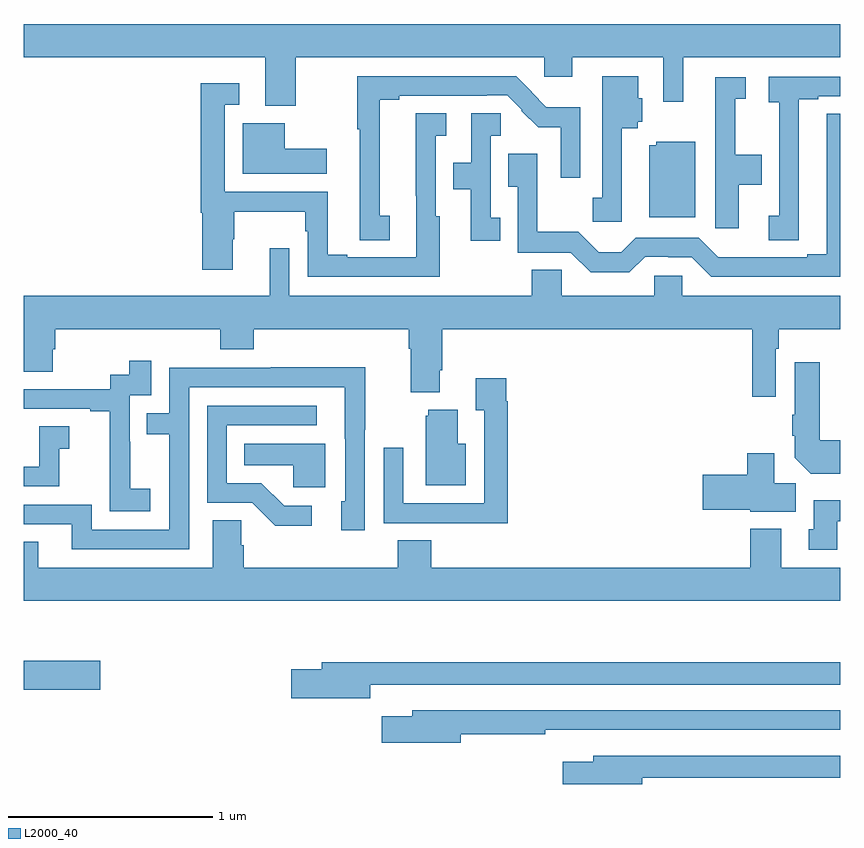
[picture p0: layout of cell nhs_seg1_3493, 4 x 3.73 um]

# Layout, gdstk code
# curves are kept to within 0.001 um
import gdstk
lib = gdstk.Library(unit=1e-6, precision=1e-09)
def R(c, l, rs):  # rectangles x0, y0, x1, y1
    for r in rs: c.add(gdstk.rectangle(r[:2], r[2:], *l))
def P(c, l, *ps):  # polygons
    for p in ps: c.add(gdstk.Polygon(p, *l))
L2000_40 = (2000, 40)

nhs_seg1_3493 = lib.new_cell('nhs_seg1_3493')
R(nhs_seg1_3493, L2000_40, [(301,520.661,301.375,520.803)])
P(nhs_seg1_3493, L2000_40, [(302.331,523.76),(303.549,523.76),(303.549,523.665),(303.688,523.665),(303.688,523.76),(304.134,523.76),(304.134,523.542),(304.231,523.542),(304.231,523.76),(305,523.76),(305,523.924),(301,523.924),(301,523.76),(302.183,523.76),(302.183,523.523),(302.331,523.523)],
  [(303.931,523.412),(304.008,523.412),(304.008,523.446),(304.03,523.446),(304.03,523.56),(304.012,523.56),(304.012,523.669),(303.834,523.669),(303.834,523.073),(303.789,523.073),(303.789,522.954),(303.931,522.954)],
  [(302.794,522.984),(302.744,522.984),(302.744,523.552),(302.839,523.552),(302.839,523.572),(303.269,523.572),(303.269,523.575),(303.369,523.575),(303.441,523.503),(303.438,523.5),(303.521,523.418),(303.63,523.418),(303.63,523.17),(303.726,523.17),(303.726,523.516),(303.561,523.516),(303.488,523.589),(303.49,523.591),(303.412,523.668),(302.634,523.668),(302.634,523.408),(302.645,523.408),(302.645,522.865),(302.794,522.865)],
  [(304.797,522.973),(304.798,522.973),(304.798,523.554),(304.894,523.554),(304.894,523.569),(305,523.569),(305,523.665),(304.65,523.665),(304.65,523.541),(304.701,523.541),(304.701,522.984),(304.65,522.984),(304.65,522.865),(304.797,522.865)],
  [(304.504,523.135),(304.616,523.135),(304.616,523.282),(304.487,523.282),(304.487,523.557),(304.537,523.557),(304.537,523.663),(304.388,523.663),(304.388,522.924),(304.504,522.924)],
  [(303.037,522.981),(303.018,522.981),(303.018,523.376),(303.07,523.376),(303.07,523.487),(302.921,523.487),(302.921,523.081),(302.922,523.081),(302.922,522.78),(302.584,522.78),(302.584,522.793),(302.488,522.793),(302.488,523.101),(301.983,523.101),(301.983,523.527),(302.056,523.527),(302.056,523.633),(301.867,523.633),(301.867,522.998),(301.874,522.998),(301.874,522.72),(302.023,522.72),(302.023,522.87),(302.031,522.87),(302.031,523.004),(302.379,523.004),(302.379,522.908),(302.391,522.908),(302.391,522.684),(303.037,522.684)],
  [(303.335,522.974),(303.288,522.974),(303.288,523.376),(303.337,523.376),(303.337,523.487),(303.192,523.487),(303.192,523.243),(303.103,523.243),(303.103,523.114),(303.191,523.114),(303.191,522.861),(303.335,522.861)],
  [(305,523.484),(304.935,523.484),(304.934,522.795),(304.838,522.795),(304.838,522.78),(304.403,522.781),(304.308,522.876),(303.999,522.876),(303.928,522.805),(303.818,522.805),(303.718,522.905),(303.516,522.905),(303.516,523.288),(303.373,523.288),(303.373,523.127),(303.42,523.127),(303.42,522.804),(303.681,522.804),(303.778,522.707),(303.968,522.707),(304.044,522.783),(304.157,522.783),(304.157,522.78),(304.272,522.78),(304.368,522.684),(305,522.684)],
  [(302.485,523.312),(302.278,523.312),(302.278,523.438),(302.072,523.438),(302.072,523.19),(302.485,523.19)],
  [(304.291,523.348),(304.098,523.348),(304.098,523.33),(304.064,523.33),(304.064,522.977),(304.291,522.977)],
  [(304.686,522.332),(304.699,522.332),(304.699,522.428),(305,522.428),(305,522.592),(304.227,522.592),(304.227,522.69),(304.089,522.69),(304.089,522.592),(303.636,522.592),(303.636,522.719),(303.49,522.719),(303.49,522.592),(302.301,522.592),(302.301,522.826),(302.204,522.826),(302.204,522.592),(301,522.592),(301,522.22),(301.141,522.22),(301.141,522.33),(301.154,522.33),(301.154,522.428),(301.961,522.428),(301.961,522.329),(302.126,522.329),(302.126,522.428),(302.885,522.428),(302.885,522.332),(302.897,522.332),(302.897,522.119),(303.037,522.119),(303.037,522.226),(303.05,522.226),(303.05,522.428),(304.57,522.428),(304.57,522.096),(304.686,522.096)],
  [(301.618,521.647),(301.52,521.647),(301.52,521.876),(301.518,521.876),(301.518,522.105),(301.623,522.105),(301.623,522.274),(301.515,522.274),(301.515,522.204),(301.422,522.204),(301.422,522.135),(301,522.135),(301,522.039),(301.325,522.039),(301.325,522.027),(301.421,522.027),(301.421,521.743),(301.42,521.743),(301.42,521.537),(301.618,521.537)],
  [(305,521.884),(304.9,521.884),(304.9,522.265),(304.778,522.265),(304.778,522.008),(304.766,522.008),(304.766,521.905),(304.778,521.905),(304.778,521.798),(304.856,521.72),(305,521.72)],
  [(301.809,522.144),(302.573,522.144),(302.573,521.89),(302.574,521.89),(302.574,521.586),(302.555,521.586),(302.555,521.442),(302.67,521.442),(302.67,521.935),(302.673,521.935),(302.673,522.242),(302.209,522.242),(302.209,522.24),(301.713,522.24),(301.713,522.015),(301.603,522.015),(301.603,521.914),(301.713,521.914),(301.713,521.445),(301.332,521.445),(301.332,521.568),(301,521.568),(301,521.472),(301.235,521.472),(301.235,521.349),(301.809,521.349)],
  [(303.371,522.074),(303.364,522.074),(303.364,522.187),(303.215,522.187),(303.215,522.031),(303.255,522.031),(303.255,521.574),(302.859,521.574),(302.859,521.847),(302.763,521.847),(302.763,521.478),(303.079,521.478),(303.079,521.477),(303.371,521.477)],
  [(302.41,521.562),(302.275,521.562),(302.164,521.673),(301.995,521.673),(301.995,521.958),(302.434,521.958),(302.434,522.054),(301.899,522.054),(301.899,521.577),(302.118,521.577),(302.231,521.465),(302.41,521.465)],
  [(303.166,521.866),(303.127,521.866),(303.127,522.034),(302.981,522.034),(302.981,522.003),(302.969,522.003),(302.969,521.663),(303.166,521.663)],
  [(301.173,521.843),(301.222,521.843),(301.222,521.953),(301.074,521.953),(301.074,521.754),(301,521.754),(301,521.658),(301.173,521.658)],
  [(302.476,521.866),(302.08,521.866),(302.08,521.762),(302.319,521.762),(302.319,521.654),(302.476,521.654)],
  [(304.783,521.672),(304.678,521.672),(304.678,521.821),(304.544,521.821),(304.544,521.714),(304.326,521.714),(304.326,521.543),(304.56,521.543),(304.56,521.534),(304.783,521.534)],
  [(304.987,521.486),(305,521.486),(305,521.59),(304.871,521.59),(304.871,521.448),(304.847,521.448),(304.847,521.346),(304.987,521.346)],
  [(305,521.26),(304.711,521.26),(304.711,521.449),(304.559,521.449),(304.559,521.26),(302.996,521.26),(302.996,521.393),(302.831,521.393),(302.831,521.26),(302.078,521.26),(302.078,521.369),(302.064,521.369),(302.064,521.492),(301.925,521.492),(301.925,521.26),(301.069,521.26),(301.069,521.387),(301,521.387),(301,521.096),(305,521.096)],
  [(302.698,520.686),(305,520.686),(305,520.795),(302.459,520.795),(302.459,520.761),(302.31,520.761),(302.31,520.619),(302.698,520.619)],
  [(303.142,520.444),(303.554,520.444),(303.554,520.464),(305,520.464),(305,520.56),(302.903,520.56),(302.903,520.531),(302.754,520.531),(302.754,520.402),(303.142,520.402)],
  [(304.03,520.23),(305,520.23),(305,520.338),(303.791,520.338),(303.791,520.309),(303.642,520.309),(303.642,520.199),(304.03,520.199)])

lib.write_gds('nhs_seg1_3493.gds')
